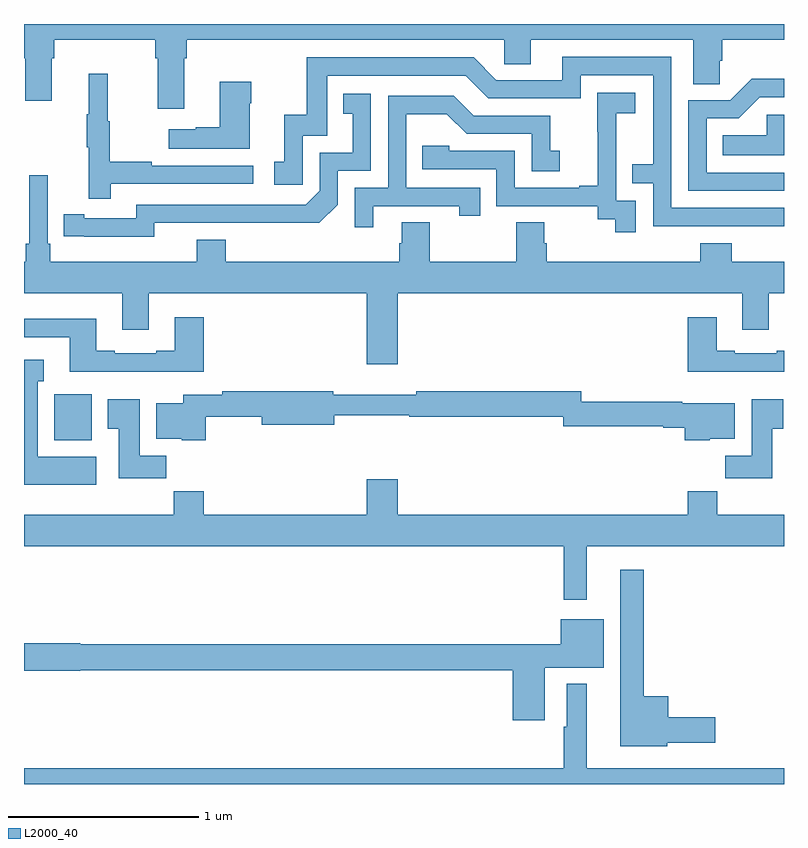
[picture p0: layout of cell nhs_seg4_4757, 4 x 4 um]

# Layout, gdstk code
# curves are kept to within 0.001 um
import gdstk
lib = gdstk.Library(unit=1e-6, precision=1e-09)
def R(c, l, rs):  # rectangles x0, y0, x1, y1
    for r in rs: c.add(gdstk.rectangle(r[:2], r[2:], *l))
def P(c, l, *ps):  # polygons
    for p in ps: c.add(gdstk.Polygon(p, *l))
L2000_40 = (2000, 40)

nhs_seg4_4757 = lib.new_cell('nhs_seg4_4757')
R(nhs_seg4_4757, L2000_40, [(367.16,798.71,367.357,798.952)])
P(nhs_seg4_4757, L2000_40, [(367,800.72),(367.007,800.72),(367.007,800.496),(367.147,800.496),(367.147,800.72),(367.16,800.72),(367.16,800.816),(367.691,800.816),(367.691,800.72),(367.703,800.72),(367.703,800.454),(367.843,800.454),(367.843,800.72),(367.856,800.72),(367.856,800.816),(369.528,800.816),(369.528,800.689),(369.667,800.689),(369.667,800.816),(370.523,800.816),(370.523,800.584),(370.662,800.584),(370.662,800.707),(370.676,800.707),(370.676,800.816),(371,800.816),(371,800.9),(367,800.9)],
  [(371,799.932),(370.407,799.932),(370.407,800.727),(369.833,800.727),(369.833,800.604),(369.486,800.604),(369.366,800.724),(368.487,800.724),(368.487,800.422),(368.369,800.422),(368.369,800.175),(368.316,800.175),(368.316,800.055),(368.466,800.055),(368.466,800.313),(368.595,800.313),(368.595,800.628),(369.324,800.628),(369.444,800.508),(369.93,800.508),(369.93,800.631),(370.311,800.631),(370.311,800.162),(370.201,800.162),(370.201,800.061),(370.311,800.061),(370.311,799.836),(371,799.835)],
  [(367.457,800.058),(368.206,800.058),(368.206,800.154),(367.673,800.154),(367.673,800.174),(367.45,800.174),(367.45,800.388),(367.442,800.388),(367.442,800.638),(367.34,800.638),(367.34,800.425),(367.329,800.425),(367.329,800.251),(367.34,800.251),(367.34,799.98),(367.457,799.98)],
  [(371,800.118),(370.593,800.118),(370.593,800.403),(370.762,800.403),(370.873,800.514),(371,800.514),(371,800.612),(370.829,800.612),(370.716,800.499),(370.497,800.499),(370.497,800.022),(371,800.022)],
  [(368.188,800.483),(368.196,800.483),(368.196,800.596),(368.03,800.596),(368.03,800.357),(367.904,800.357),(367.904,800.347),(367.761,800.347),(367.761,800.243),(368.188,800.243)],
  [(370.221,799.971),(370.116,799.971),(370.116,800.201),(370.118,800.201),(370.118,800.429),(370.216,800.429),(370.216,800.539),(370.018,800.539),(370.018,800.333),(370.019,800.333),(370.019,800.05),(369.923,800.05),(369.923,800.037),(369.582,800.037),(369.582,800.232),(369.237,800.232),(369.237,800.259),(369.097,800.259),(369.097,800.136),(369.486,800.136),(369.486,799.941),(370.02,799.941),(370.02,799.873),(370.113,799.873),(370.113,799.803),(370.221,799.803)],
  [(367.686,799.854),(368.554,799.853),(368.652,799.95),(368.652,800.127),(368.826,800.127),(368.826,800.533),(368.68,800.533),(368.68,800.427),(368.729,800.427),(368.729,800.223),(368.556,800.223),(368.556,800.022),(368.484,799.95),(367.59,799.95),(367.59,799.878),(367.318,799.878),(367.318,799.898),(367.21,799.898),(367.21,799.782),(367.686,799.781)],
  [(368.839,799.941),(369.29,799.941),(369.29,799.89),(369.401,799.89),(369.401,800.037),(369.012,800.037),(369.012,800.426),(369.226,800.426),(369.33,800.322),(369.672,800.322),(369.672,800.124),(369.82,800.124),(369.82,800.233),(369.771,800.233),(369.771,800.418),(369.367,800.418),(369.262,800.523),(368.916,800.523),(368.916,800.037),(368.742,800.037),(368.742,799.83),(368.839,799.83)],
  [(371,800.422),(370.909,800.422),(370.909,800.314),(370.678,800.314),(370.678,800.21),(371,800.21)],
  [(368.968,799.484),(370.781,799.484),(370.781,799.29),(370.921,799.29),(370.921,799.484),(371,799.484),(371,799.648),(370.724,799.648),(370.724,799.747),(370.559,799.747),(370.559,799.648),(369.752,799.648),(369.752,799.746),(369.739,799.746),(369.739,799.856),(369.592,799.856),(369.592,799.648),(369.135,799.648),(369.135,799.856),(368.987,799.856),(368.987,799.746),(368.975,799.746),(368.975,799.648),(368.063,799.648),(368.063,799.765),(367.91,799.765),(367.91,799.648),(367.139,799.648),(367.139,799.744),(367.125,799.744),(367.125,800.104),(367.028,800.104),(367.028,799.744),(367.009,799.744),(367.009,799.648),(367,799.648),(367,799.484),(367.517,799.484),(367.517,799.29),(367.657,799.29),(367.657,799.484),(368.804,799.484),(368.804,799.11),(368.968,799.11)],
  [(371,799.18),(370.961,799.18),(370.961,799.167),(370.741,799.167),(370.741,799.18),(370.645,799.18),(370.645,799.357),(370.493,799.357),(370.493,799.07),(371,799.07)],
  [(367.946,799.357),(367.793,799.357),(367.793,799.18),(367.697,799.18),(367.697,799.167),(367.477,799.167),(367.477,799.18),(367.381,799.18),(367.381,799.348),(367,799.348),(367,799.251),(367.241,799.251),(367.241,799.07),(367.946,799.07)],
  [(367.381,798.622),(367.072,798.622),(367.072,799.019),(367.105,799.019),(367.105,799.132),(367,799.132),(367,798.476),(367.381,798.476)],
  [(367.956,798.832),(368.252,798.832),(368.252,798.79),(368.632,798.79),(368.632,798.84),(369.028,798.84),(369.028,798.832),(369.837,798.832),(369.837,798.783),(370.365,798.783),(370.365,798.775),(370.478,798.775),(370.478,798.71),(370.608,798.71),(370.608,798.716),(370.741,798.716),(370.741,798.904),(370.465,798.904),(370.465,798.911),(369.933,798.911),(369.933,798.968),(369.064,798.968),(369.064,798.949),(368.628,798.949),(368.628,798.968),(368.044,798.968),(368.044,798.948),(367.838,798.948),(367.838,798.904),(367.697,798.904),(367.697,798.716),(367.83,798.716),(367.83,798.71),(367.956,798.71)],
  [(367.748,798.628),(367.609,798.628),(367.609,798.925),(367.442,798.925),(367.442,798.769),(367.499,798.769),(367.499,798.51),(367.748,798.51)],
  [(370.939,798.769),(370.996,798.769),(370.996,798.925),(370.829,798.925),(370.829,798.628),(370.69,798.628),(370.69,798.51),(370.939,798.51)],
  [(369.961,798.152),(371,798.152),(371,798.316),(370.649,798.316),(370.649,798.44),(370.493,798.44),(370.493,798.316),(368.968,798.316),(368.968,798.505),(368.804,798.505),(368.804,798.316),(367.946,798.316),(367.946,798.44),(367.789,798.44),(367.789,798.316),(367,798.316),(367,798.152),(369.84,798.152),(369.84,797.871),(369.961,797.871)],
  [(370.386,797.117),(370.639,797.117),(370.639,797.252),(370.39,797.252),(370.39,797.362),(370.261,797.362),(370.261,798.028),(370.139,798.028),(370.139,797.099),(370.386,797.099)],
  [(369.742,797.513),(370.051,797.513),(370.051,797.767),(369.824,797.767),(369.824,797.636),(367.296,797.636),(367.296,797.642),(367,797.642),(367,797.495),(367.296,797.495),(367.296,797.5),(369.572,797.5),(369.572,797.235),(369.742,797.235)],
  [(371,796.984),(369.961,796.984),(369.961,797.428),(369.857,797.428),(369.857,797.201),(369.84,797.201),(369.84,796.984),(367,796.984),(367,796.9),(371,796.9)])

lib.write_gds('nhs_seg4_4757.gds')
